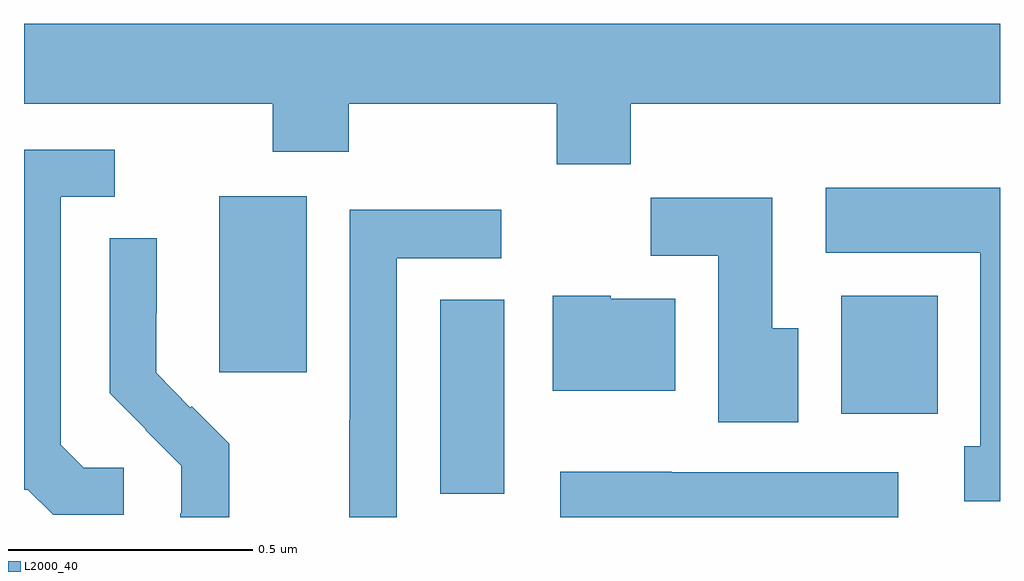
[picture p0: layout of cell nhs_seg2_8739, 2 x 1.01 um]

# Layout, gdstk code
import gdstk
lib = gdstk.Library(unit=1e-6, precision=1e-09)
def R(c, l, rs):  # rectangles x0, y0, x1, y1
    for r in rs: c.add(gdstk.rectangle(r[:2], r[2:], *l))
def P(c, l, *ps):  # polygons
    for p in ps: c.add(gdstk.Polygon(p, *l))
L2000_40 = (2000, 40)

nhs_seg2_8739 = lib.new_cell('nhs_seg2_8739')
R(nhs_seg2_8739, L2000_40, [(220.853,634.849,220.984,635.246), (221.675,635.012,221.872,635.254), (220.4,635.097,220.579,635.458)])
P(nhs_seg2_8739, L2000_40, [(221.243,635.648),(222,635.648),(222,635.812),(220,635.812),(220,635.648),(220.51,635.648),(220.51,635.549),(220.665,635.549),(220.665,635.648),(221.092,635.648),(221.092,635.524),(221.243,635.524)],
  [(220.204,634.902),(220.122,634.902),(220.075,634.949),(220.075,635.457),(220.186,635.457),(220.186,635.553),(220,635.553),(220,634.857),(220.008,634.857),(220.06,634.805),(220.204,634.805)],
  [(222,635.476),(221.643,635.476),(221.643,635.342),(221.96,635.342),(221.96,634.946),(221.927,634.946),(221.927,634.833),(222,634.833)],
  [(221.587,635.188),(221.533,635.188),(221.533,635.455),(221.284,635.455),(221.284,635.336),(221.423,635.336),(221.423,634.995),(221.587,634.995)],
  [(220.764,635.331),(220.978,635.331),(220.978,635.43),(220.668,635.43),(220.668,635),(220.666,635),(220.666,634.8),(220.764,634.8)],
  [(220.421,634.951),(220.344,635.028),(220.341,635.025),(220.271,635.096),(220.271,635.218),(220.272,635.218),(220.272,635.372),(220.176,635.372),(220.176,635.054),(220.249,634.981),(220.248,634.98),(220.322,634.906),(220.322,634.809),(220.32,634.809),(220.32,634.8),(220.421,634.8)],
  [(221.335,635.248),(221.202,635.248),(221.202,635.254),(221.084,635.254),(221.084,635.06),(221.335,635.06)],
  [(221.791,634.893),(221.327,634.893),(221.327,634.894),(221.099,634.894),(221.099,634.8),(221.791,634.8)])

lib.write_gds('nhs_seg2_8739.gds')
